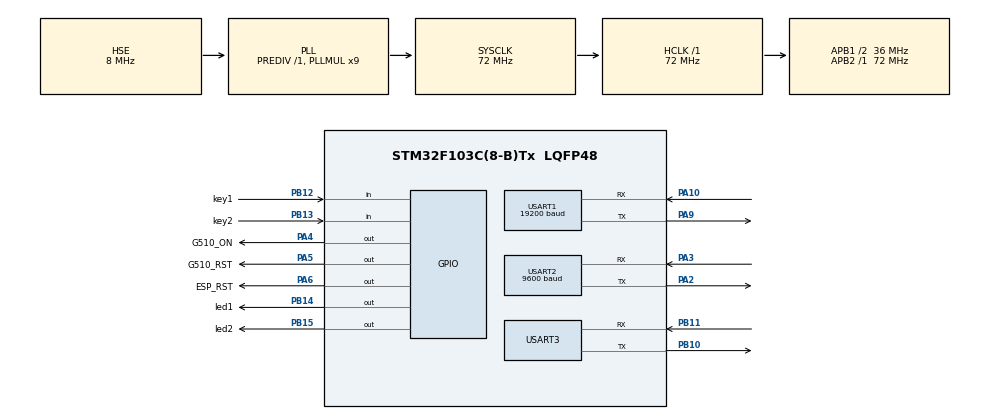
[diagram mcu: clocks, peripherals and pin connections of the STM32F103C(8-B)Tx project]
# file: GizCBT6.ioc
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Mcu.Family=STM32F1
Mcu.Name=STM32F103C(8-B)Tx
Mcu.Package=LQFP48
NVIC.PriorityGroup=NVIC_PRIORITYGROUP_4
NVIC.TIM2_IRQn=true\:1\:0\:true\:true\:true\:1\:true
NVIC.USART1_IRQn=true\:0\:0\:false\:false\:true\:true
NVIC.USART2_IRQn=true\:0\:0\:false\:true\:true\:2\:true
PA10.Mode=Asynchronous
PA10.Signal=USART1_RX
PA13.Mode=Serial_Wire
PA13.Signal=SYS_JTMS-SWDIO
PA14.Mode=Serial_Wire
PA14.Signal=SYS_JTCK-SWCLK
PA2.Mode=Asynchronous
PA2.Signal=USART2_TX
PA3.Mode=Asynchronous
PA3.Signal=USART2_RX
PA4.GPIO_Label=G510_ON
PA4.Signal=GPIO_Output
PA5.GPIO_Label=G510_RST
PA5.PinState=GPIO_PIN_SET
PA5.Signal=GPIO_Output
PA6.GPIO_Label=ESP_RST
PA6.PinState=GPIO_PIN_SET
PA6.Signal=GPIO_Output
PA9.Mode=Asynchronous
PA9.Signal=USART1_TX
PB10.Mode=Asynchronous
PB10.Signal=USART3_TX
PB11.Mode=Asynchronous
PB11.Signal=USART3_RX
PB12.GPIO_Label=key1
PB12.GPIO_PuPd=GPIO_PULLUP
PB12.Signal=GPIO_Input
PB13.GPIO_Label=key2
PB13.GPIO_PuPd=GPIO_PULLUP
PB13.Signal=GPIO_Input
PB14.GPIO_Label=led1
PB14.Signal=GPIO_Output
PB15.GPIO_Label=led2
PB15.Signal=GPIO_Output
PD0-OSC_IN.Mode=HSE-External-Oscillator
PD0-OSC_IN.Signal=RCC_OSC_IN
PD1-OSC_OUT.Mode=HSE-External-Oscillator
PD1-OSC_OUT.Signal=RCC_OSC_OUT
ProjectManager.HeapSize=0x800
ProjectManager.StackSize=0x2000
ProjectManager.TargetToolchain=MDK-ARM V5
RCC.AHBFreq_Value=72000000
RCC.APB1CLKDivider=RCC_HCLK_DIV2
RCC.APB1Freq_Value=36000000
RCC.APB1TimFreq_Value=72000000
RCC.APB2Freq_Value=72000000
RCC.APB2TimFreq_Value=72000000
RCC.HCLKFreq_Value=72000000
RCC.PLLMUL=RCC_PLL_MUL9
RCC.PLLSourceVirtual=RCC_PLLSOURCE_HSE
RCC.SYSCLKFreq_VALUE=72000000
RCC.SYSCLKSource=RCC_SYSCLKSOURCE_PLLCLK
RCC.USBFreq_Value=72000000
TIM2.Period=10-1
TIM2.Prescaler=7200-1
USART1.BaudRate=19200
USART1.VirtualMode=VM_ASYNC
USART2.BaudRate=9600
USART2.VirtualMode=VM_ASYNC
USART3.VirtualMode=VM_ASYNC
VP_TIM2_VS_ClockSourceINT.Mode=Internal
board=GizCBT6

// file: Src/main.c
/**
  ******************************************************************************
  * @file           : main.c
  * @brief          : Main program body
  ******************************************************************************
  ** This notice applies to any and all portions of this file
  * that are not between comment pairs USER CODE BEGIN and
  * USER CODE END. Other portions of this file, whether
  * inserted by the user or by software development tools
  * are owned by their respective copyright owners.
  *
  * COPYRIGHT(c) 2018 STMicroelectronics
  *
  * Redistribution and use in source and binary forms, with or without modification,
  * are permitted provided that the following conditions are met:
  *   1. Redistributions of source code must retain the above copyright notice,
  *      this list of conditions and the following disclaimer.
  *   2. Redistributions in binary form must reproduce the above copyright notice,
  *      this list of conditions and the following disclaimer in the documentation
  *      and/or other materials provided with the distribution.
  *   3. Neither the name of STMicroelectronics nor the names of its contributors
  *      may be used to endorse or promote products derived from this software
  *      without specific prior written permission.
  *
  * THIS SOFTWARE IS PROVIDED BY THE COPYRIGHT HOLDERS AND CONTRIBUTORS "AS IS"
  * AND ANY EXPRESS OR IMPLIED WARRANTIES, INCLUDING, BUT NOT LIMITED TO, THE
  * IMPLIED WARRANTIES OF MERCHANTABILITY AND FITNESS FOR A PARTICULAR PURPOSE ARE
  * DISCLAIMED. IN NO EVENT SHALL THE COPYRIGHT HOLDER OR CONTRIBUTORS BE LIABLE
  * FOR ANY DIRECT, INDIRECT, INCIDENTAL, SPECIAL, EXEMPLARY, OR CONSEQUENTIAL
  * DAMAGES (INCLUDING, BUT NOT LIMITED TO, PROCUREMENT OF SUBSTITUTE GOODS OR
  * SERVICES; LOSS OF USE, DATA, OR PROFITS; OR BUSINESS INTERRUPTION) HOWEVER
  * CAUSED AND ON ANY THEORY OF LIABILITY, WHETHER IN CONTRACT, STRICT LIABILITY,
  * OR TORT (INCLUDING NEGLIGENCE OR OTHERWISE) ARISING IN ANY WAY OUT OF THE USE
  * OF THIS SOFTWARE, EVEN IF ADVISED OF THE POSSIBILITY OF SUCH DAMAGE.
  *
  ******************************************************************************
  */
#include "main.h"
#include "stm32f1xx_hal.h"
#include "tim.h"
#include "usart.h"
#include "gpio.h"

/* USER CODE BEGIN Includes */
#include "gizwits_product.h"
#include "common.h"
#include "modbusToPC.h"
/* USER CODE END Includes */

/* USER CODE BEGIN PV */
/* Private variables ---------------------------------------------------------*/

/* USER CODE END PV */

void SystemClock_Config(void);
static void MX_NVIC_Init(void);

/* USER CODE BEGIN PFP */
/* Private function prototypes -----------------------------------------------*/

/* USER CODE END PFP */

/* USER CODE BEGIN 0 */

//复位G510模块
void G510_Reset() {
	HAL_GPIO_WritePin(G510_RST_GPIO_Port, G510_RST_Pin, GPIO_PIN_RESET);
	HAL_Delay(1000);
	HAL_GPIO_WritePin(G510_RST_GPIO_Port, G510_RST_Pin, GPIO_PIN_SET);
}

/* USER CODE END 0 */

int main(void)
{

  /* MCU Configuration----------------------------------------------------------*/

  /* Reset of all peripherals, Initializes the Flash interface and the Systick. */
  HAL_Init();

  /* Configure the system clock */
  SystemClock_Config();

  /* Initialize all configured peripherals */
  MX_GPIO_Init();
  MX_TIM2_Init();
  MX_USART1_UART_Init();
  MX_USART2_UART_Init();
  MX_USART3_UART_Init();

  /* Initialize interrupts */
  MX_NVIC_Init();
  /* USER CODE BEGIN 2 */
	G510_Reset();
	timerInit();
	uartInit();

	userInit();
	gizwitsInit();
	GIZWITS_LOG("MCU Init Success \n");
  /* USER CODE END 2 */

  /* Infinite loop */
	while (1)
	{

  /* USER CODE BEGIN 3 */
		modbusPull();
		modbusReceive();
		userHandle();
		gizwitsHandle((dataPoint_t *)&currentDataPoint);
	}
  /* USER CODE END 3 */

}

void SystemClock_Config(void)
{

  RCC_OscInitTypeDef RCC_OscInitStruct;
  RCC_ClkInitTypeDef RCC_ClkInitStruct;

    /**Initializes the CPU, AHB and APB busses clocks
    */
  RCC_OscInitStruct.OscillatorType = RCC_OSCILLATORTYPE_HSE;
  RCC_OscInitStruct.HSEState = RCC_HSE_ON;
  RCC_OscInitStruct.HSEPredivValue = RCC_HSE_PREDIV_DIV1;
  RCC_OscInitStruct.HSIState = RCC_HSI_ON;
  RCC_OscInitStruct.PLL.PLLState = RCC_PLL_ON;
  RCC_OscInitStruct.PLL.PLLSource = RCC_PLLSOURCE_HSE;
  RCC_OscInitStruct.PLL.PLLMUL = RCC_PLL_MUL9;
  if (HAL_RCC_OscConfig(&RCC_OscInitStruct) != HAL_OK)
  {
    _Error_Handler(__FILE__, __LINE__);
  }

    /**Initializes the CPU, AHB and APB busses clocks
    */
  RCC_ClkInitStruct.ClockType = RCC_CLOCKTYPE_HCLK|RCC_CLOCKTYPE_SYSCLK
                              |RCC_CLOCKTYPE_PCLK1|RCC_CLOCKTYPE_PCLK2;
  RCC_ClkInitStruct.SYSCLKSource = RCC_SYSCLKSOURCE_PLLCLK;
  RCC_ClkInitStruct.AHBCLKDivider = RCC_SYSCLK_DIV1;
  RCC_ClkInitStruct.APB1CLKDivider = RCC_HCLK_DIV2;
  RCC_ClkInitStruct.APB2CLKDivider = RCC_HCLK_DIV1;

  if (HAL_RCC_ClockConfig(&RCC_ClkInitStruct, FLASH_LATENCY_2) != HAL_OK)
  {
    _Error_Handler(__FILE__, __LINE__);
  }

    /**Configure the Systick interrupt time
    */
  HAL_SYSTICK_Config(HAL_RCC_GetHCLKFreq()/1000);

    /**Configure the Systick
    */
  HAL_SYSTICK_CLKSourceConfig(SYSTICK_CLKSOURCE_HCLK);

  /* SysTick_IRQn interrupt configuration */
  HAL_NVIC_SetPriority(SysTick_IRQn, 0, 0);
}

/**
  * @brief NVIC Configuration.
  * @retval None
  */
static void MX_NVIC_Init(void)
{
  /* TIM2_IRQn interrupt configuration */
  HAL_NVIC_SetPriority(TIM2_IRQn, 1, 0);
  HAL_NVIC_EnableIRQ(TIM2_IRQn);
  /* USART2_IRQn interrupt configuration */
  HAL_NVIC_SetPriority(USART2_IRQn, 0, 0);
  HAL_NVIC_EnableIRQ(USART2_IRQn);
}

void _Error_Handler(char *file, int line)
{
	while (1)
	{
	}
}

/************************ (C) COPYRIGHT STMicroelectronics *****END OF FILE****/
